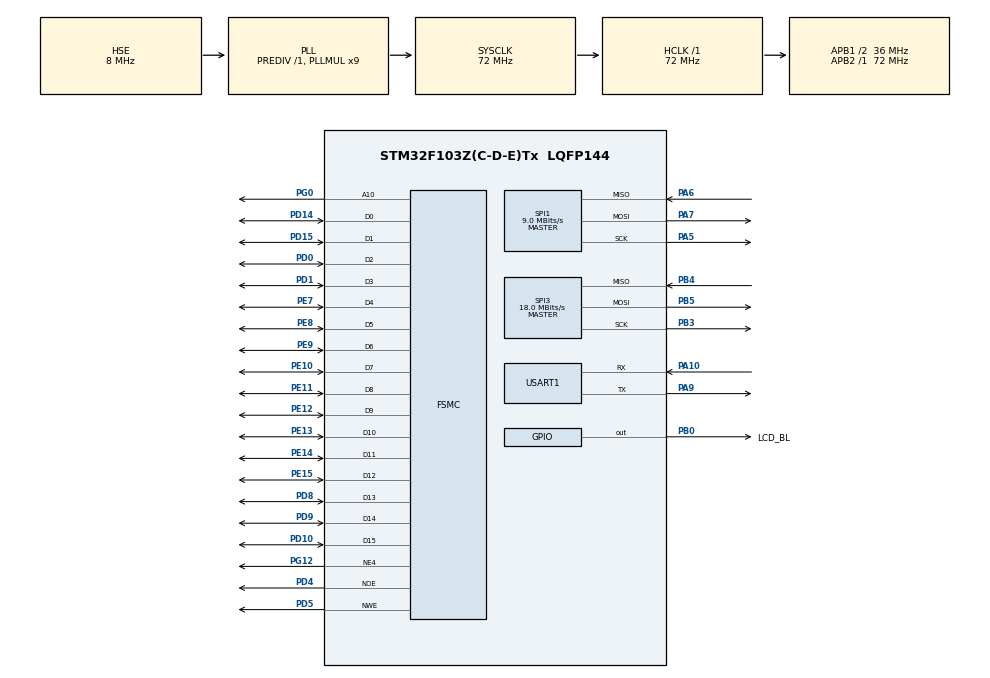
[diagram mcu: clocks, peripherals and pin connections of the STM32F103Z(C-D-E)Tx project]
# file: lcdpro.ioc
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FSMC.AddressSetupTime4=15
FSMC.BusTurnAroundDuration4=0
FSMC.DataSetupTime4=60
FSMC.ExtendedAddressSetupTime4=9
FSMC.ExtendedBusTurnAroundDuration4=0
FSMC.ExtendedDataSetupTime4=8
FSMC.ExtendedMode4=FSMC_EXTENDED_MODE_ENABLE
Mcu.Family=STM32F1
Mcu.Name=STM32F103Z(C-D-E)Tx
Mcu.Package=LQFP144
NVIC.PriorityGroup=NVIC_PRIORITYGROUP_4
NVIC.TIM1_UP_IRQn=true\:0\:0\:false\:false\:true\:true\:true
OSC_IN.Mode=HSE-External-Oscillator
OSC_IN.Signal=RCC_OSC_IN
OSC_OUT.Mode=HSE-External-Oscillator
OSC_OUT.Signal=RCC_OSC_OUT
PA10.Mode=Asynchronous
PA10.Signal=USART1_RX
PA13.Mode=Serial_Wire
PA13.Signal=SYS_JTMS-SWDIO
PA14.Mode=Serial_Wire
PA14.Signal=SYS_JTCK-SWCLK
PA5.Mode=Full_Duplex_Master
PA5.Signal=SPI1_SCK
PA6.Mode=Full_Duplex_Master
PA6.Signal=SPI1_MISO
PA7.Mode=Full_Duplex_Master
PA7.Signal=SPI1_MOSI
PA9.Mode=Asynchronous
PA9.Signal=USART1_TX
PB0.GPIO_Label=LCD_BL
PB0.GPIO_PuPd=GPIO_PULLUP
PB0.GPIO_Speed=GPIO_SPEED_FREQ_HIGH
PB0.Signal=GPIO_Output
PB3.Mode=Full_Duplex_Master
PB3.Signal=SPI3_SCK
PB4.Mode=Full_Duplex_Master
PB4.Signal=SPI3_MISO
PB5.Mode=Full_Duplex_Master
PB5.Signal=SPI3_MOSI
PD0.Signal=FSMC_D2_DA2
PD1.Signal=FSMC_D3_DA3
PD10.Signal=FSMC_D15_DA15
PD14.Signal=FSMC_D0_DA0
PD15.Signal=FSMC_D1_DA1
PD4.Signal=FSMC_NOE
PD5.Signal=FSMC_NWE
PD8.Signal=FSMC_D13_DA13
PD9.Signal=FSMC_D14_DA14
PE10.Signal=FSMC_D7_DA7
PE11.Signal=FSMC_D8_DA8
PE12.Signal=FSMC_D9_DA9
PE13.Signal=FSMC_D10_DA10
PE14.Signal=FSMC_D11_DA11
PE15.Signal=FSMC_D12_DA12
PE7.Signal=FSMC_D4_DA4
PE8.Signal=FSMC_D5_DA5
PE9.Signal=FSMC_D6_DA6
PG0.Signal=FSMC_A10
PG12.Mode=NorPsramChipSelect4_4
PG12.Signal=FSMC_NE4
ProjectManager.HeapSize=0x200
ProjectManager.StackSize=0x400
ProjectManager.TargetToolchain=MDK-ARM V5.32
RCC.AHBFreq_Value=72000000
RCC.APB1CLKDivider=RCC_HCLK_DIV2
RCC.APB1Freq_Value=36000000
RCC.APB1TimFreq_Value=72000000
RCC.APB2Freq_Value=72000000
RCC.APB2TimFreq_Value=72000000
RCC.HCLKFreq_Value=72000000
RCC.PLLMUL=RCC_PLL_MUL9
RCC.PLLSourceVirtual=RCC_PLLSOURCE_HSE
RCC.SYSCLKFreq_VALUE=72000000
RCC.SYSCLKSource=RCC_SYSCLKSOURCE_PLLCLK
RCC.USBFreq_Value=72000000
SH.FSMC_A10.0=FSMC_A10,A10_4
SH.FSMC_D0_DA0.0=FSMC_D0,16b-d4
SH.FSMC_D10_DA10.0=FSMC_D10,16b-d4
SH.FSMC_D11_DA11.0=FSMC_D11,16b-d4
SH.FSMC_D12_DA12.0=FSMC_D12,16b-d4
SH.FSMC_D13_DA13.0=FSMC_D13,16b-d4
SH.FSMC_D14_DA14.0=FSMC_D14,16b-d4
SH.FSMC_D15_DA15.0=FSMC_D15,16b-d4
SH.FSMC_D1_DA1.0=FSMC_D1,16b-d4
SH.FSMC_D2_DA2.0=FSMC_D2,16b-d4
SH.FSMC_D3_DA3.0=FSMC_D3,16b-d4
SH.FSMC_D4_DA4.0=FSMC_D4,16b-d4
SH.FSMC_D5_DA5.0=FSMC_D5,16b-d4
SH.FSMC_D6_DA6.0=FSMC_D6,16b-d4
SH.FSMC_D7_DA7.0=FSMC_D7,16b-d4
SH.FSMC_D8_DA8.0=FSMC_D8,16b-d4
SH.FSMC_D9_DA9.0=FSMC_D9,16b-d4
SH.FSMC_NOE.0=FSMC_NOE,Lcd4
SH.FSMC_NWE.0=FSMC_NWE,Lcd4
SPI1.BaudRatePrescaler=SPI_BAUDRATEPRESCALER_8
SPI1.CalculateBaudRate=9.0 MBits/s
SPI1.Direction=SPI_DIRECTION_2LINES
SPI1.Mode=SPI_MODE_MASTER
SPI1.VirtualType=VM_MASTER
SPI3.CalculateBaudRate=18.0 MBits/s
SPI3.Direction=SPI_DIRECTION_2LINES
SPI3.Mode=SPI_MODE_MASTER
SPI3.VirtualType=VM_MASTER
TIM1.AutoReloadPreload=TIM_AUTORELOAD_PRELOAD_ENABLE
TIM1.Period=9999
TIM1.Prescaler=7199
USART1.VirtualMode=VM_ASYNC
VP_TIM1_VS_ClockSourceINT.Mode=Internal
board=custom

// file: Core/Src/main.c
/* USER CODE BEGIN Header */
/**
  ******************************************************************************
  * @file           : main.c
  * @brief          : Main program body
  ******************************************************************************
  * @attention
  *
  * <h2><center>&copy; Copyright (c) 2024 STMicroelectronics.
  * All rights reserved.</center></h2>
  *
  * This software component is licensed by ST under BSD 3-Clause license,
  * the "License"; You may not use this file except in compliance with the
  * License. You may obtain a copy of the License at:
  *                        opensource.org/licenses/BSD-3-Clause
  *
  ******************************************************************************
  */
/* USER CODE END Header */
#include "main.h"
#include "spi.h"
#include "tim.h"
#include "usart.h"
#include "gpio.h"
#include "fsmc.h"

/* USER CODE BEGIN Includes */
#include "mylcd.h"
#include <stdio.h>
#include "delay.h"
#include "lcdspi.h"
#include "touch.h"
#include "eeprom.h"
#include "i2c.h"
#include "lvgl.h"
#include "lv_port_disp_template.h"
#include "lv_port_indev_template.h"
#include "lv_mainstart.h"
/* USER CODE END Includes */

void SystemClock_Config(void);

/* USER CODE BEGIN 0 */

/* TIM1 定时器回调函数*/
void HAL_TIM_PeriodElapsedCallback(TIM_HandleTypeDef *htim)
{
    if (htim->Instance == TIM1)
    {
        // TIM1 更新中断处理代码
        // 例如：处理定时器溢出事件
			printf("123\n");
			//lv_task_handler();
			//lv_timer_handler();
			lv_tick_inc(1);
    }
}

/* USER CODE END 0 */

int main(void)
{

  /* MCU Configuration--------------------------------------------------------*/

  /* Reset of all peripherals, Initializes the Flash interface and the Systick. */
  HAL_Init();

  /* Configure the system clock */
  SystemClock_Config();

  /* Initialize all configured peripherals */
  MX_GPIO_Init();
  MX_FSMC_Init();
  MX_USART1_UART_Init();
  MX_SPI1_Init();
  MX_SPI3_Init();
  MX_TIM1_Init();

  /* USER CODE BEGIN 2 */

	 // 获取系统时钟频率
	//void delay_init();
	//printf("System Clock Frequency: %lf Hz\r\n", cyclesPer);

	HAL_Delay(10);
	delay_init(72);

	//EEPROM_Init();
	lcd_spi_init();
	LCD_init();
	delay_ms(10);

	HAL_TIM_Base_Start_IT(&htim1);
	lv_init();
	lv_port_disp_init();
	lv_port_indev_init();

//	lv_obj_t *label = lv_label_create(lv_scr_act());
//	lv_label_set_text(label,"Hellow world!");
//	lv_obj_center(label);

	/*
	printf("0x%04X\n",lcdDev.id);

	lcdDev.LCD_Clear();
	LCD_FillRect(0,0,200,450,GREEN);
	lcdDev.LCD_ShowStr(70,70,"Hello World! my name is Liu Chaoming",24,1);

	LCD_DrawLine(50,50,100,100, BLACK);
	LCD_DrawCircle(200,200, 100, BLUE,0);
	*/

	uint8_t flag = 0x21;
	if(EEPROM_Read_Byte(0x00FF) != flag){
		TP_Adjust();

		uint32_t xfac = FloatToUint32(tp_dev.xfac);
		uint32_t yfac = FloatToUint32(tp_dev.yfac);
		uint16_t xoff = ShortToUint16(tp_dev.xoff);
		uint16_t yoff = ShortToUint16(tp_dev.yoff);

		EEPROM_Write_Byte(0x0001,(uint8_t)((xfac&0xFF000000)>>24));
		EEPROM_Write_Byte(0x0002,(uint8_t)((xfac&0x00FF0000)>>16));
		EEPROM_Write_Byte(0x0003,(uint8_t)((xfac&0x0000FF00)>>8));
		EEPROM_Write_Byte(0x0004,(uint8_t)(xfac&0x000000FF));

		EEPROM_Write_Byte(0x0005,(uint8_t)((yfac&0xFF000000)>>24));
		EEPROM_Write_Byte(0x0006,(uint8_t)((yfac&0x00FF0000)>>16));
		EEPROM_Write_Byte(0x0007,(uint8_t)((yfac&0x0000FF00)>>8));
		EEPROM_Write_Byte(0x0008,(uint8_t)(yfac&0x000000FF));

		EEPROM_Write_Byte(0x0009,(uint8_t)((xoff&0xFF00)>>8));
		EEPROM_Write_Byte(0x000A,(uint8_t)(xoff&0x00FF));

		EEPROM_Write_Byte(0x000B,(uint8_t)((yoff&0xFF00)>>8));
		EEPROM_Write_Byte(0x000C,(uint8_t)(yoff&0x00FF));

		EEPROM_Write_Byte(0x00FF,flag);

		printf("tp_dev.xfac = %lf\n",tp_dev.xfac);
		printf("tp_dev.yfac = %lf\n",tp_dev.yfac);
		printf("tp_dev.xoff = %d\n",tp_dev.xoff);
		printf("tp_dev.yoff = %d\n",tp_dev.yoff);

	}else{
		uint32_t xfac;
		uint32_t yfac;
		uint16_t xoff;
		uint16_t yoff;

		xfac = (EEPROM_Read_Byte(0x0001)<<24)|(EEPROM_Read_Byte(0x0002)<<16)|(EEPROM_Read_Byte(0x0003)<<8)|EEPROM_Read_Byte(0x0004);
		yfac = (EEPROM_Read_Byte(0x0005)<<24)|(EEPROM_Read_Byte(0x0006)<<16)|(EEPROM_Read_Byte(0x0007)<<8)|EEPROM_Read_Byte(0x0008);

		xoff = (EEPROM_Read_Byte(0x0009)<<8)|EEPROM_Read_Byte(0x000A);
		yoff = (EEPROM_Read_Byte(0x000B)<<8)|EEPROM_Read_Byte(0x000C);

		tp_dev.xfac = Uint32ToFloat(xfac);
		tp_dev.yfac = Uint32ToFloat(yfac);
		tp_dev.xoff = Uint16ToShort(xoff);
		tp_dev.yoff = Uint16ToShort(yoff);

	}

	lcdDev.LCD_Clear();
	lv_mainstart();

  /* USER CODE END 2 */

  /* Infinite loop */
  /* USER CODE BEGIN WHILE */
  while (1)
  {
		lv_task_handler();

		//lv_timer_handler();
		//lv_tick_inc(5);//这个必须调用，要么不会处理触摸屏事件

		/*
		TP_Scan(0);
		if((tp_dev.state&0xc0) == TP_CHAR_PRESS){
			tp_dev.state &= ~(1<<6);
			printf("x=%d  y=%d\n",tp_dev.x[4],tp_dev.y[4]);
			LCD_DrawCircle(tp_dev.x[4],tp_dev.y[4], 10, BLUE,1);
		}
		*/

    /* USER CODE END WHILE */

  }
}

void SystemClock_Config(void)
{
  RCC_OscInitTypeDef RCC_OscInitStruct = {0};
  RCC_ClkInitTypeDef RCC_ClkInitStruct = {0};

  /** Initializes the RCC Oscillators according to the specified parameters
  * in the RCC_OscInitTypeDef structure.
  */
  RCC_OscInitStruct.OscillatorType = RCC_OSCILLATORTYPE_HSE;
  RCC_OscInitStruct.HSEState = RCC_HSE_ON;
  RCC_OscInitStruct.HSEPredivValue = RCC_HSE_PREDIV_DIV1;
  RCC_OscInitStruct.HSIState = RCC_HSI_ON;
  RCC_OscInitStruct.PLL.PLLState = RCC_PLL_ON;
  RCC_OscInitStruct.PLL.PLLSource = RCC_PLLSOURCE_HSE;
  RCC_OscInitStruct.PLL.PLLMUL = RCC_PLL_MUL9;
  if (HAL_RCC_OscConfig(&RCC_OscInitStruct) != HAL_OK)
  {
    Error_Handler();
  }
  /** Initializes the CPU, AHB and APB buses clocks
  */
  RCC_ClkInitStruct.ClockType = RCC_CLOCKTYPE_HCLK|RCC_CLOCKTYPE_SYSCLK
                              |RCC_CLOCKTYPE_PCLK1|RCC_CLOCKTYPE_PCLK2;
  RCC_ClkInitStruct.SYSCLKSource = RCC_SYSCLKSOURCE_PLLCLK;
  RCC_ClkInitStruct.AHBCLKDivider = RCC_SYSCLK_DIV1;
  RCC_ClkInitStruct.APB1CLKDivider = RCC_HCLK_DIV2;
  RCC_ClkInitStruct.APB2CLKDivider = RCC_HCLK_DIV1;

  if (HAL_RCC_ClockConfig(&RCC_ClkInitStruct, FLASH_LATENCY_2) != HAL_OK)
  {
    Error_Handler();
  }
}

void Error_Handler(void)
{
  __disable_irq();
  while (1)
  {
  }
}

/************************ (C) COPYRIGHT STMicroelectronics *****END OF FILE****/
